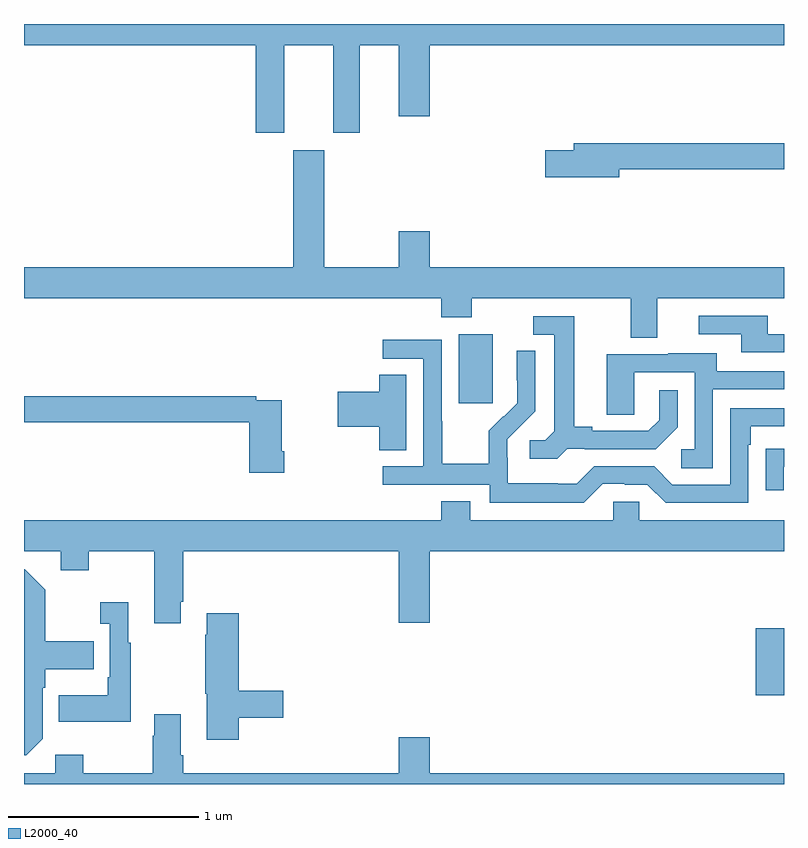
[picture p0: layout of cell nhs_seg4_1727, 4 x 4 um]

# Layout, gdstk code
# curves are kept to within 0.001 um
import gdstk
lib = gdstk.Library(unit=1e-6, precision=1e-09)
def R(c, l, rs):  # rectangles x0, y0, x1, y1
    for r in rs: c.add(gdstk.rectangle(r[:2], r[2:], *l))
def P(c, l, *ps):  # polygons
    for p in ps: c.add(gdstk.Polygon(p, *l))
L2000_40 = (2000, 40)

nhs_seg4_1727 = lib.new_cell('nhs_seg4_1727')
R(nhs_seg4_1727, L2000_40, [(202.85,825.368,203,825.721), (201.287,826.905,201.466,827.266)])
P(nhs_seg4_1727, L2000_40, [(200.371,828.788),(200.627,828.788),(200.627,828.327),(200.767,828.327),(200.767,828.788),(200.972,828.788),(200.972,828.414),(201.136,828.414),(201.136,828.788),(203,828.788),(203,828.9),(199,828.9),(199,828.788),(200.219,828.788),(200.219,828.327),(200.371,828.327)],
  [(202.132,828.136),(203,828.136),(203,828.272),(201.893,828.272),(201.893,828.236),(201.744,828.236),(201.744,828.094),(202.132,828.094)],
  [(201.197,827.357),(201.357,827.357),(201.357,827.456),(202.193,827.456),(202.193,827.248),(202.333,827.248),(202.333,827.456),(203,827.456),(203,827.62),(201.136,827.62),(201.136,827.809),(200.972,827.809),(200.972,827.62),(200.581,827.62),(200.581,828.235),(200.417,828.235),(200.417,827.62),(199,827.62),(199,827.456),(201.197,827.456)],
  [(203,827.268),(202.915,827.268),(202.915,827.364),(202.551,827.364),(202.551,827.268),(202.775,827.268),(202.775,827.172),(203,827.172)],
  [(201.858,826.665),(201.952,826.665),(201.952,826.662),(202.324,826.662),(202.44,826.778),(202.44,826.972),(202.343,826.972),(202.343,826.815),(202.286,826.758),(201.991,826.758),(201.991,826.781),(201.895,826.781),(201.895,827.361),(201.681,827.361),(201.681,827.265),(201.791,827.265),(201.791,826.757),(201.744,826.71),(201.663,826.71),(201.663,826.613),(201.806,826.613)],
  [(202.047,826.479),(202.163,826.479),(202.163,826.476),(202.281,826.476),(202.377,826.38),(202.812,826.38),(202.812,826.685),(202.825,826.685),(202.825,826.782),(203,826.782),(203,826.878),(202.716,826.878),(202.716,826.476),(202.413,826.476),(202.317,826.572),(202.002,826.572),(201.909,826.479),(201.809,826.479),(201.809,826.483),(201.546,826.483),(201.546,826.617),(201.544,826.617),(201.544,826.714),(201.69,826.862),(201.69,827.18),(201.594,827.18),(201.594,827.026),(201.596,827.026),(201.596,826.904),(201.525,826.833),(201.522,826.836),(201.445,826.759),(201.445,826.585),(201.201,826.585),(201.201,826.808),(201.198,826.808),(201.198,827.238),(200.889,827.238),(200.889,827.139),(201.102,827.139),(201.102,826.572),(200.889,826.572),(200.889,826.476),(201.45,826.476),(201.45,826.379),(201.947,826.379)],
  [(202.626,826.977),(203,826.977),(203,827.073),(202.645,827.073),(202.645,827.167),(202.391,827.167),(202.391,827.163),(202.067,827.163),(202.067,826.843),(202.212,826.843),(202.212,827.067),(202.53,827.067),(202.53,826.662),(202.458,826.662),(202.458,826.561),(202.626,826.561)],
  [(201.013,827.054),(200.87,827.054),(200.87,826.964),(200.652,826.964),(200.652,826.781),(200.87,826.781),(200.87,826.657),(201.013,826.657)],
  [(200.369,826.651),(200.356,826.651),(200.356,826.92),(200.222,826.92),(200.222,826.94),(199,826.94),(199,826.804),(200.186,826.804),(200.186,826.539),(200.369,826.539)],
  [(202.999,826.569),(203,826.569),(203,826.664),(202.903,826.664),(202.903,826.446),(202.999,826.446)],
  [(199.825,825.859),(199.838,825.859),(199.838,826.124),(200.972,826.124),(200.972,825.75),(201.136,825.75),(201.136,826.124),(203,826.124),(203,826.288),(202.239,826.288),(202.239,826.386),(202.101,826.386),(202.101,826.288),(201.349,826.288),(201.349,826.387),(201.197,826.387),(201.197,826.288),(199,826.288),(199,826.124),(199.193,826.124),(199.193,826.025),(199.341,826.025),(199.341,826.124),(199.685,826.124),(199.685,825.747),(199.825,825.747)],
  [(199.098,825.138),(199.098,825.407),(199.111,825.407),(199.111,825.503),(199.367,825.503),(199.367,825.651),(199.111,825.651),(199.111,825.923),(199.005,826.029),(199,826.029),(199,825.881),(199.002,825.879),(199.002,825.198),(199,825.196),(199,825.051),(199.011,825.051)],
  [(199.561,825.643),(199.549,825.643),(199.549,825.856),(199.401,825.856),(199.401,825.743),(199.452,825.743),(199.452,825.463),(199.44,825.463),(199.44,825.367),(199.183,825.367),(199.183,825.227),(199.561,825.227)],
  [(200.129,825.25),(200.365,825.25),(200.365,825.392),(200.129,825.392),(200.129,825.799),(199.961,825.799),(199.961,825.686),(199.954,825.686),(199.954,825.375),(199.961,825.375),(199.961,825.132),(200.129,825.132)],
  [(203,824.956),(201.136,824.956),(201.136,825.145),(200.972,825.145),(200.972,824.956),(199.838,824.956),(199.838,825.052),(199.825,825.052),(199.825,825.268),(199.685,825.268),(199.685,825.155),(199.678,825.155),(199.678,824.956),(199.311,824.956),(199.311,825.055),(199.164,825.055),(199.164,824.956),(199,824.956),(199,824.9),(203,824.9)])

lib.write_gds('nhs_seg4_1727.gds')
